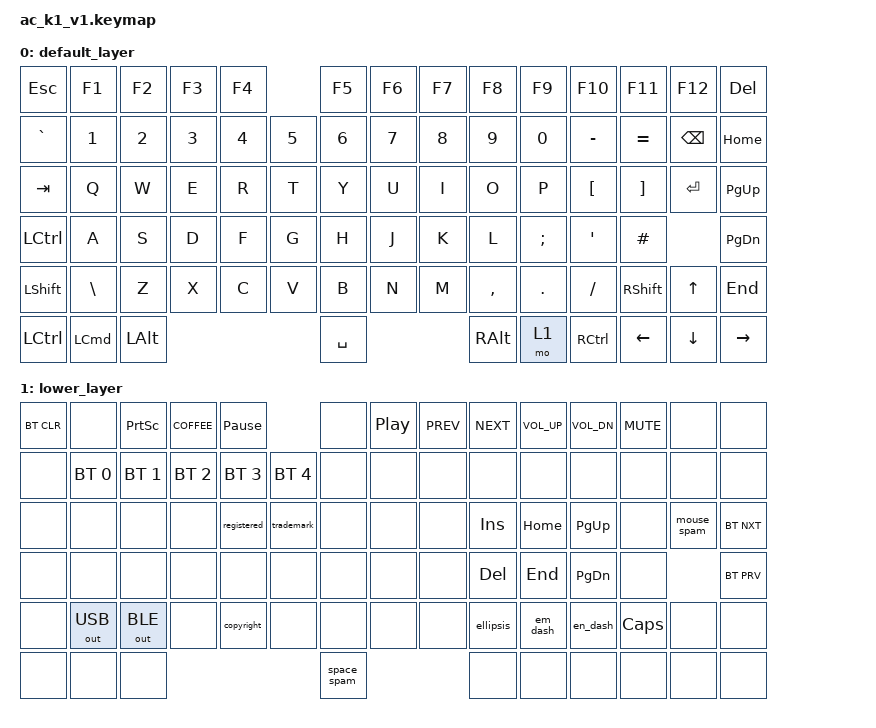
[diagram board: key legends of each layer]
#include <behaviors.dtsi>
#include <dt-bindings/zmk/bt.h>
#include <dt-bindings/zmk/keys.h>
#include <dt-bindings/zmk/mouse.h>
#include <dt-bindings/zmk/outputs.h>

&soft_off { hold-time-ms = <2000>; };

/ {
    macros {
        copyright: copyright {
            compatible = "zmk,behavior-macro";
            #binding-cells = <0>;
            bindings =
                <&macro_press>,
                <&kp LALT>,
                <&macro_tap>,
                <&kp KP_N0 &kp KP_N1 &kp KP_N6 &kp KP_N9>,
                <&macro_release>,
                <&kp LALT>;

            label = "COPYRIGHT";
        };

        trademark: trademark {
            compatible = "zmk,behavior-macro";
            #binding-cells = <0>;
            bindings =
                <&macro_press>,
                <&kp LALT>,
                <&macro_tap>,
                <&kp KP_N0 &kp KP_N1 &kp KP_N5 &kp KP_N3>,
                <&macro_release>,
                <&kp LALT>;

            label = "TRADEMARK";
        };

        registered: registered {
            compatible = "zmk,behavior-macro";
            #binding-cells = <0>;
            bindings =
                <&macro_press>,
                <&kp LALT>,
                <&macro_tap>,
                <&kp KP_N0 &kp KP_N1 &kp KP_N7 &kp KP_N4>,
                <&macro_release>,
                <&kp LALT>;

            label = "REGISTERED";
        };

        em_dash: em_dash {
            compatible = "zmk,behavior-macro";
            #binding-cells = <0>;
            bindings =
                <&macro_press>,
                <&kp LALT>,
                <&macro_tap>,
                <&kp KP_N0 &kp KP_N1 &kp KP_N5 &kp KP_N1>,
                <&macro_release>,
                <&kp LALT>;

            label = "EM_DASH";
        };

        en_dash: en_dash {
            compatible = "zmk,behavior-macro";
            #binding-cells = <0>;
            bindings =
                <&macro_press>,
                <&kp LALT>,
                <&macro_tap>,
                <&kp KP_N0 &kp KP_N1 &kp KP_N5 &kp KP_N0>,
                <&macro_release>,
                <&kp LALT>;

            label = "EN_DASH";
        };

        space_spam: space_spam {
            compatible = "zmk,behavior-macro";
            #binding-cells = <0>;
            bindings = <&kp SPACE &kp SPACE &kp SPACE &kp SPACE &kp SPACE &kp SPACE &kp SPACE &kp SPACE &kp SPACE &kp SPACE &kp SPACE &kp SPACE &kp SPACE &kp SPACE &kp SPACE &kp SPACE &kp SPACE &kp SPACE &kp SPACE &kp SPACE &kp SPACE &kp SPACE &kp SPACE &kp SPACE &kp SPACE &kp SPACE &kp SPACE &kp SPACE &kp SPACE &kp SPACE &kp SPACE &kp SPACE &kp SPACE &kp SPACE &kp SPACE &kp SPACE &kp SPACE &kp SPACE &kp SPACE &kp SPACE>;
            label = "SPACE_SPAM";
        };

        mouse_spam: mouse_spam {
            compatible = "zmk,behavior-macro";
            #binding-cells = <0>;
            bindings = <&mkp MB1 &mkp MB1 &mkp MB1 &mkp MB1 &mkp MB1 &mkp MB1 &mkp MB1 &mkp MB1 &mkp MB1 &mkp MB1 &mkp MB1 &mkp MB1>;
            label = "MOUSE_SPAM";
        };

        ellipsis: ellipsis {
            compatible = "zmk,behavior-macro";
            #binding-cells = <0>;
            bindings =
                <&macro_press>,
                <&kp LALT>,
                <&macro_tap>,
                <&kp KP_N0 &kp KP_N1 &kp KP_N3 &kp KP_N3>,
                <&macro_release>,
                <&kp LALT>;

            label = "ELLIPSIS";
        };
    };

    combos {
        compatible = "zmk,combos";

        reset_bt {
            bindings = <&bt BT_CLR_ALL>;
            key-positions = <0 58 78>;
        };

        soft_off {
            bindings = <&soft_off>;
            key-positions = <72 0>;
        };
    };

    keymap {
        compatible = "zmk,keymap";

        default_layer {
            // ┌───┐ ┌───┬───┬───┬───┐┌───┬───┬───┬───┐┌───┬───┬───┬───┐
            // │ESC│ │F1 │F2 │F3 │F4 ││F5 │F6 │F7 │F8 ││F9 │F10│F11│F12│
            // ├───┼─┴─┬─┴─┬─┴─┬─┴─┬─┴┴┬──┴┬──┴┬──┴┬──┴┼───┼───┼───┼───┼───┬───┐
            // │ ` │ 1 │ 2 │ 3 │ 4 │ 5 │ 6 │ 7 │ 8 │ 9 │ 0 │ - │ = │ ← │DEL│HOM│
            // ├───┴─┬─┴─┬─┴─┬─┴─┬─┴─┬─┴─┬─┴─┬─┴─┬─┴─┬─┴─┬─┴─┬─┴─┬─┴─┬─┴───┼───┤
            // │ TAB │ Q │ W │ E │ R │ T │ Y │ U │ I │ O │ P │ [ │ ] │ENTER│PGU│
            // ├─────┴┬──┴┬──┴┬──┴┬──┴┬──┴┬──┴┬──┴┬──┴┬──┴┬──┴┬──┴┬──┴┐    ├───┤
            // │LCTRL │ A │ S │ D │ F │ G │ H │ J │ K │ L │ ; │ ' │ # │    │PGD│
            // ├─────┬┴──┬┴──┬┴──┬┴──┬┴──┬┴──┬┴──┬┴──┬┴──┬┴──┬┴──┬┴───┴┬───┼───┤
            // │LSHIF│ \ │ Z │ X │ C │ V │ B │ N │ M │ , │ . │ / │RSHIF│ ↑ │END│
            // ├────┬┴───┼───┴┬──┴───┴───┴───┴───┴──┬┴───┼───┴┬──┴─┬───┼───┼───┤
            // │LCTR│ OS │LALT│        SPACE        │RALT│MO1 │RCTR│ ← │ ↓ │ → │
            // └────┴────┴────┴─────────────────────┴────┴────┴────┴───┴───┴───┘

            bindings = <
&kp ESC    &kp F1    &kp F2    &kp F3  &kp F4          &kp F5     &kp F6  &kp F7  &kp F8     &kp F9         &kp F10    &kp F11    &kp F12        &kp DEL
&kp GRAVE  &kp N1    &kp N2    &kp N3  &kp N4  &kp N5  &kp N6     &kp N7  &kp N8  &kp N9     &kp N0         &kp MINUS  &kp EQUAL  &kp BACKSPACE  &kp HOME
&kp TAB    &kp Q     &kp W     &kp E   &kp R   &kp T   &kp Y      &kp U   &kp I   &kp O      &kp P          &kp LBKT   &kp RBKT   &kp ENTER      &kp PG_UP
&kp LCTRL  &kp A     &kp S     &kp D   &kp F   &kp G   &kp H      &kp J   &kp K   &kp L      &kp SEMICOLON  &kp SQT    &kp HASH                  &kp PG_DN
&kp LSHFT  &kp BSLH  &kp Z     &kp X   &kp C   &kp V   &kp B      &kp N   &kp M   &kp COMMA  &kp DOT        &kp FSLH   &kp RSHFT  &kp UP         &kp END
&kp LCTRL  &kp LCMD  &kp LALT                          &kp SPACE                  &kp RALT   &mo 1          &kp RCTRL  &kp LEFT   &kp DOWN       &kp RIGHT
            >;
        };

        lower_layer {
            // ┌───┐ ┌───┬───┬───┬───┐┌───┬───┬───┬───┐┌───┬───┬───┬───┐
            // │BTC│ │   │PRT│SCR│BRE││   │PLA│PRE│NEX││VO+│VO-│MUT│   │
            // ├───┼─┴─┬─┴─┬─┴─┬─┴─┬─┴┴┬──┴┬──┴┬──┴┬──┴┼───┼───┼───┼───┼───┬───┐
            // │   │BT0│BT1│BT2│BT3│BT4│   │   │   │   │   │   │   │   │   │   │
            // ├───┴─┬─┴─┬─┴─┬─┴─┬─┴─┬─┴─┬─┴─┬─┴─┬─┴─┬─┴─┬─┴─┬─┴─┬─┴─┬─┴───┼───┤
            // │     │   │   │   │(R)│TM │   │   │   │INS│POS│PGU│   │     │   │
            // ├─────┴┬──┴┬──┴┬──┴┬──┴┬──┴┬──┴┬──┴┬──┴┬──┴┬──┴┬──┴┬──┴┐    ├───┤
            // │      │   │   │   │   │   │   │   │   │DEL│END│PGD│   │    │   │
            // ├─────┬┴──┬┴──┬┴──┬┴──┬┴──┬┴──┬┴──┬┴──┬┴──┬┴──┬┴──┬┴───┴┬───┼───┤
            // │     │   │   │   │(C)│   │   │   │   │   │ — │ – │CAPS │   │OFF│
            // ├────┬┴───┼───┴┬──┴───┴───┴───┴───┴──┬┴───┼───┴┬──┴─┬───┼───┼───┤
            // │    │\\\\│    │                     │    │////│    │   │   │   │
            // └────┴────┴────┴─────────────────────┴────┴────┴────┴───┴───┴───┘

            bindings = <
&bt BT_CLR  &none         &kp PSCRN     &kp K_COFFEE  &kp PAUSE_BREAK                &none        &kp C_PP  &kp C_PREV  &kp C_NEXT  &kp C_VOL_UP  &kp C_VOL_DN  &kp C_MUTE  &none        &none
&none       &bt BT_SEL 0  &bt BT_SEL 1  &bt BT_SEL 2  &bt BT_SEL 3     &bt BT_SEL 4  &none        &none     &none       &none       &none         &none         &none       &none        &none
&none       &none         &none         &none         &registered      &trademark    &none        &none     &none       &kp INS     &kp HOME      &kp PG_UP     &none       &mouse_spam  &bt BT_NXT
&none       &none         &none         &none         &none            &none         &none        &none     &none       &kp DEL     &kp END       &kp PG_DN     &none                    &bt BT_PRV
&none       &out OUT_USB  &out OUT_BLE  &none         &copyright       &none         &none        &none     &none       &ellipsis   &em_dash      &en_dash      &kp CAPS    &none        &none
&none       &none         &none                                                      &space_spam                        &none       &none         &none         &none       &none        &none
            >;
        };
    };
};
